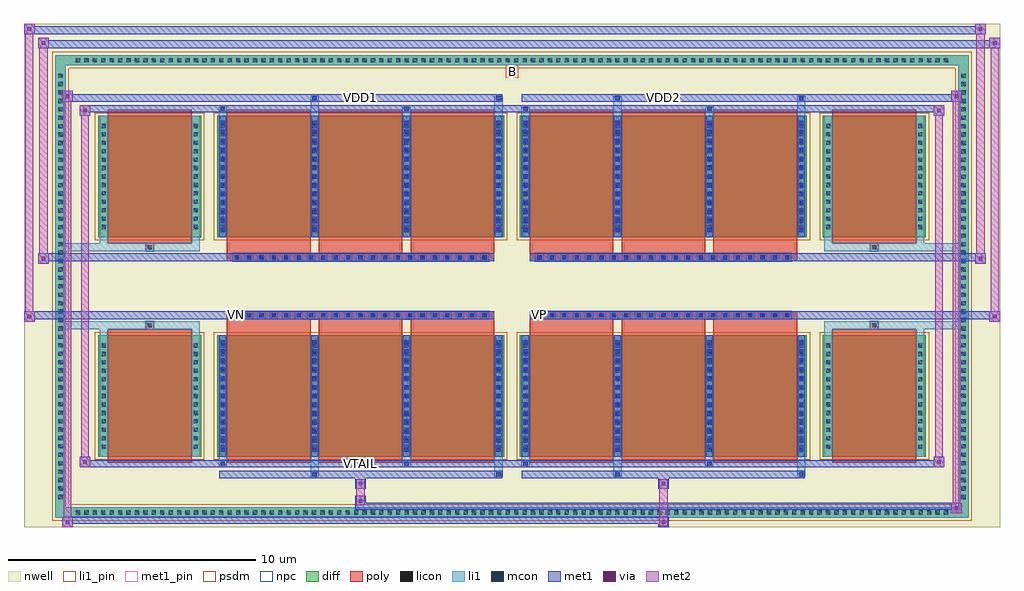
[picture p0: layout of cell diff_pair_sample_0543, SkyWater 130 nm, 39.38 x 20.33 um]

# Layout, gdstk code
import gdstk
lib = gdstk.Library(unit=1e-6, precision=5e-09)
def R(c, l, rs):  # rectangles x0, y0, x1, y1
    for r in rs: c.add(gdstk.rectangle(r[:2], r[2:], *l))
def A(c, l, x, y, w, h, nx, ny, dx, dy):  # array of equal rectangles
    R(c, l, [(x+i*dx, y+j*dy, x+i*dx+w, y+j*dy+h) for i in range(nx) for j in range(ny)])
def P(c, l, *ps):  # polygons
    for p in ps: c.add(gdstk.Polygon(p, *l))
nwell = (64, 20)
diff = (65, 20)
poly = (66, 20)
licon = (66, 44)
li1_pin = (67, 16)
li1 = (67, 20)
mcon = (67, 44)
met1_pin = (68, 16)
met1 = (68, 20)
via = (68, 44)
met2 = (69, 20)
psdm = (94, 20)
npc = (95, 20)

diff_pair_sample_0543 = lib.new_cell('diff_pair_sample_0543')
R(diff_pair_sample_0543, nwell, [(-19.69,-9.73,19.69,10.6), (-17.01,-7.92,-0.01,-0.8), (0.01,-7.92,17.01,-0.8), (-17.01,0.8,-0.01,7.92), (0.01,0.8,17.01,7.92)])
A(diff_pair_sample_0543, diff, -17.715, -9.33, 0.41, 0.41, 104, 2, 0.34, 18.25)
A(diff_pair_sample_0543, diff, -18.42, -8.705, 0.41, 0.41, 1, 51, 0, 0.34)
A(diff_pair_sample_0543, diff, 18.01, -8.705, 0.41, 0.41, 1, 51, 0, 0.34)
R(diff_pair_sample_0543, diff, [(-17.715,-9.33,17.715,-8.92), (-18.42,-8.705,-18.01,8.705), (18.01,-8.705,18.42,8.705), (-16.7,-6.875,-12.54,-1.985), (-11.9,-6.875,-0.32,-1.985), (0.32,-6.875,11.9,-1.985), (12.54,-6.875,16.7,-1.985), (-16.7,1.985,-12.54,6.875), (-11.9,1.985,-0.32,6.875), (0.32,1.985,11.9,6.875), (12.54,1.985,16.7,6.875), (-17.715,8.92,17.715,9.33)])
P(diff_pair_sample_0543, diff, [(18.42,9.33),(-18.42,9.33),(-18.42,-8.92),(-18.01,-8.92),(-18.01,8.92),(18.01,8.92),(18.01,-8.92),(-18.01,-8.92),(-18.42,-8.92),(-18.42,-9.33),(18.42,-9.33)])
A(diff_pair_sample_0543, poly, -11.51, -7.125, 3.38, 5.39, 3, 2, 3.71, 8.86)
A(diff_pair_sample_0543, poly, 0.71, -7.125, 3.38, 5.39, 3, 2, 3.71, 8.86)
A(diff_pair_sample_0543, poly, -11.51, -1.735, 3.38, 0.405, 3, 2, 3.71, 3.065)
A(diff_pair_sample_0543, poly, 0.71, -1.735, 3.38, 0.405, 3, 2, 3.71, 3.065)
A(diff_pair_sample_0543, poly, -11.275, -1.33, 0.33, 0.33, 21, 2, 0.5, 2.33)
A(diff_pair_sample_0543, poly, 0.945, -1.33, 0.33, 0.33, 21, 2, 0.5, 2.33)
R(diff_pair_sample_0543, poly, [(-16.31,-7.125,-12.93,-1.735), (12.93,-7.125,16.31,-1.735), (-14.785,-1.735,-14.455,-1.405), (-14.785,-1.735,-14.455,-1.405), (14.455,-1.735,14.785,-1.405), (14.455,-1.735,14.785,-1.405), (-11.51,-1.33,-0.71,-1), (0.71,-1.33,11.51,-1), (-11.51,1,-0.71,1.33), (0.71,1,11.51,1.33), (-14.785,1.405,-14.455,1.735), (-14.785,1.405,-14.455,1.735), (14.455,1.405,14.785,1.735), (14.455,1.405,14.785,1.735), (-16.31,1.735,-12.93,7.125), (12.93,1.735,16.31,7.125)])
A(diff_pair_sample_0543, licon, -17.595, -9.21, 0.17, 0.17, 104, 2, 0.34, 18.25)
A(diff_pair_sample_0543, licon, -18.3, -8.585, 0.17, 0.17, 1, 51, 0, 0.34)
A(diff_pair_sample_0543, licon, 18.13, -8.585, 0.17, 0.17, 1, 51, 0, 0.34)
A(diff_pair_sample_0543, licon, -16.56, -6.555, 0.17, 0.17, 1, 13, 0, 0.34)
A(diff_pair_sample_0543, licon, -12.85, -6.555, 0.17, 0.17, 1, 13, 0, 0.34)
A(diff_pair_sample_0543, licon, -11.76, -6.555, 0.17, 0.17, 4, 13, 3.71, 0.34)
A(diff_pair_sample_0543, licon, 0.46, -6.555, 0.17, 0.17, 4, 13, 3.71, 0.34)
A(diff_pair_sample_0543, licon, 12.68, -6.555, 0.17, 0.17, 1, 13, 0, 0.34)
A(diff_pair_sample_0543, licon, 16.39, -6.555, 0.17, 0.17, 1, 13, 0, 0.34)
A(diff_pair_sample_0543, licon, -11.195, -1.25, 0.17, 0.17, 21, 2, 0.5, 2.33)
A(diff_pair_sample_0543, licon, 1.025, -1.25, 0.17, 0.17, 21, 2, 0.5, 2.33)
A(diff_pair_sample_0543, licon, -16.56, 2.305, 0.17, 0.17, 1, 13, 0, 0.34)
A(diff_pair_sample_0543, licon, -12.85, 2.305, 0.17, 0.17, 1, 13, 0, 0.34)
A(diff_pair_sample_0543, licon, -11.76, 2.305, 0.17, 0.17, 4, 13, 3.71, 0.34)
A(diff_pair_sample_0543, licon, 0.46, 2.305, 0.17, 0.17, 4, 13, 3.71, 0.34)
A(diff_pair_sample_0543, licon, 12.68, 2.305, 0.17, 0.17, 1, 13, 0, 0.34)
A(diff_pair_sample_0543, licon, 16.39, 2.305, 0.17, 0.17, 1, 13, 0, 0.34)
R(diff_pair_sample_0543, licon, [(-14.705,-1.655,-14.535,-1.485), (14.535,-1.655,14.705,-1.485), (-14.705,1.485,-14.535,1.655), (14.535,1.485,14.705,1.655)])
R(diff_pair_sample_0543, li1_pin, [(-0.25,8.42,0.25,8.92)])
A(diff_pair_sample_0543, li1, -17.675, -9.29, 0.33, 0.33, 104, 2, 0.34, 18.25)
A(diff_pair_sample_0543, li1, -18.38, -8.665, 0.33, 0.33, 1, 51, 0, 0.34)
A(diff_pair_sample_0543, li1, 18.05, -8.665, 0.33, 0.33, 1, 51, 0, 0.34)
A(diff_pair_sample_0543, li1, -11.84, -6.875, 0.33, 4.89, 4, 2, 3.71, 8.86)
A(diff_pair_sample_0543, li1, 0.38, -6.875, 0.33, 4.89, 4, 2, 3.71, 8.86)
A(diff_pair_sample_0543, li1, -11.76, -6.675, 0.17, 0.17, 4, 13, 3.71, 0.36)
A(diff_pair_sample_0543, li1, -11.76, -6.675, 0.17, 4.49, 4, 2, 3.71, 8.86)
A(diff_pair_sample_0543, li1, 0.46, -6.675, 0.17, 0.17, 4, 13, 3.71, 0.36)
A(diff_pair_sample_0543, li1, 0.46, -6.675, 0.17, 4.49, 4, 2, 3.71, 8.86)
A(diff_pair_sample_0543, li1, -16.64, -6.635, 0.33, 0.33, 1, 13, 0, 0.34)
A(diff_pair_sample_0543, li1, -12.93, -6.635, 0.33, 0.33, 1, 13, 0, 0.34)
A(diff_pair_sample_0543, li1, -11.84, -6.635, 0.33, 0.33, 4, 13, 3.71, 0.34)
A(diff_pair_sample_0543, li1, 0.38, -6.635, 0.33, 0.33, 4, 13, 3.71, 0.34)
A(diff_pair_sample_0543, li1, 12.6, -6.635, 0.33, 0.33, 1, 13, 0, 0.34)
A(diff_pair_sample_0543, li1, 16.31, -6.635, 0.33, 0.33, 1, 13, 0, 0.34)
A(diff_pair_sample_0543, li1, -11.275, -1.33, 0.33, 0.33, 21, 2, 0.5, 2.33)
A(diff_pair_sample_0543, li1, 0.945, -1.33, 0.33, 0.33, 21, 2, 0.5, 2.33)
A(diff_pair_sample_0543, li1, -11.76, 2.185, 0.17, 0.17, 4, 13, 3.71, 0.36)
A(diff_pair_sample_0543, li1, 0.46, 2.185, 0.17, 0.17, 4, 13, 3.71, 0.36)
A(diff_pair_sample_0543, li1, -16.64, 2.225, 0.33, 0.33, 1, 13, 0, 0.34)
A(diff_pair_sample_0543, li1, -12.93, 2.225, 0.33, 0.33, 1, 13, 0, 0.34)
A(diff_pair_sample_0543, li1, -11.84, 2.225, 0.33, 0.33, 4, 13, 3.71, 0.34)
A(diff_pair_sample_0543, li1, 0.38, 2.225, 0.33, 0.33, 4, 13, 3.71, 0.34)
A(diff_pair_sample_0543, li1, 12.6, 2.225, 0.33, 0.33, 1, 13, 0, 0.34)
A(diff_pair_sample_0543, li1, 16.31, 2.225, 0.33, 0.33, 1, 13, 0, 0.34)
R(diff_pair_sample_0543, li1, [(-18.42,-9.33,-18.01,-8.92), (-18.42,-9.33,-18.01,-8.92), (-18.01,-9.33,18.01,-8.92), (18.01,-9.33,18.42,-8.92), (18.01,-9.33,18.42,-8.92), (-18.42,-8.92,-18.01,8.92), (18.01,-8.92,18.42,8.92), (-8.13,-7.68,-7.8,-6.875), (-8.05,-7.68,-7.88,-7.51), (-0.71,-7.68,-0.38,-6.875), (-0.63,-7.68,-0.46,-7.51), (4.09,-7.68,4.42,-6.875), (4.17,-7.68,4.34,-7.51), (11.51,-7.68,11.84,-6.875), (11.59,-7.68,11.76,-7.51), (-11.84,-7.25,-11.51,-6.875), (-11.76,-7.25,-11.59,-7.08), (-4.42,-7.25,-4.09,-6.875), (-4.34,-7.25,-4.17,-7.08), (0.38,-7.25,0.71,-6.875), (0.46,-7.25,0.63,-7.08), (7.8,-7.25,8.13,-6.875), (7.88,-7.25,8.05,-7.08), (-16.64,-6.875,-16.31,-1.985), (-12.93,-6.875,-12.6,-1.985), (12.6,-6.875,12.93,-1.985), (16.31,-6.875,16.64,-1.985), (-16.64,-1.985,-16.31,-1.405), (-12.93,-1.985,-12.6,-1.405), (12.6,-1.985,12.93,-1.405), (16.31,-1.985,16.64,-1.405), (-18.42,-1.735,-14.785,-1.405), (-16.64,-1.735,-14.785,-1.405), (-14.785,-1.735,-14.455,-1.405), (-14.455,-1.735,-12.6,-1.405), (12.6,-1.735,14.455,-1.405), (14.455,-1.735,14.785,-1.405), (14.455,-1.735,18.42,-1.405), (14.785,-1.735,16.64,-1.405), (-18.42,1.405,-14.785,1.735), (-16.64,1.405,-14.785,1.735), (-16.64,1.405,-16.31,1.985), (-14.785,1.405,-14.455,1.735), (-14.455,1.405,-12.6,1.735), (-12.93,1.405,-12.6,1.985), (12.6,1.405,14.455,1.735), (12.6,1.405,12.93,1.985), (14.455,1.405,14.785,1.735), (14.455,1.405,18.42,1.735), (14.785,1.405,16.64,1.735), (16.31,1.405,16.64,1.985), (-16.64,1.985,-16.31,6.875), (-12.93,1.985,-12.6,6.875), (12.6,1.985,12.93,6.875), (16.31,1.985,16.64,6.875), (-11.84,6.875,-11.51,7.25), (-8.13,6.875,-7.8,7.68), (-4.42,6.875,-4.09,7.25), (-0.71,6.875,-0.38,7.68), (0.38,6.875,0.71,7.25), (4.09,6.875,4.42,7.68), (7.8,6.875,8.13,7.25), (11.51,6.875,11.84,7.68), (-11.76,7.08,-11.59,7.25), (-4.34,7.08,-4.17,7.25), (0.46,7.08,0.63,7.25), (7.88,7.08,8.05,7.25), (-8.05,7.51,-7.88,7.68), (-0.63,7.51,-0.46,7.68), (4.17,7.51,4.34,7.68), (11.59,7.51,11.76,7.68), (-18.42,8.92,-18.01,9.33), (-18.42,8.92,-18.01,9.33), (-18.01,8.92,18.01,9.33), (18.01,8.92,18.42,9.33), (18.01,8.92,18.42,9.33)])
A(diff_pair_sample_0543, mcon, -11.76, -6.675, 0.17, 0.17, 4, 13, 3.71, 0.36)
A(diff_pair_sample_0543, mcon, 0.46, -6.675, 0.17, 0.17, 4, 13, 3.71, 0.36)
A(diff_pair_sample_0543, mcon, -11.195, -1.25, 0.17, 0.17, 21, 2, 0.5, 2.33)
A(diff_pair_sample_0543, mcon, 1.025, -1.25, 0.17, 0.17, 21, 2, 0.5, 2.33)
A(diff_pair_sample_0543, mcon, -11.76, 2.185, 0.17, 0.17, 4, 13, 3.71, 0.36)
A(diff_pair_sample_0543, mcon, 0.46, 2.185, 0.17, 0.17, 4, 13, 3.71, 0.36)
R(diff_pair_sample_0543, mcon, [(-8.05,-7.68,-7.88,-7.51), (-0.63,-7.68,-0.46,-7.51), (4.17,-7.68,4.34,-7.51), (11.59,-7.68,11.76,-7.51), (-11.76,-7.25,-11.59,-7.08), (-4.34,-7.25,-4.17,-7.08), (0.46,-7.25,0.63,-7.08), (7.88,-7.25,8.05,-7.08), (-11.76,7.08,-11.59,7.25), (-4.34,7.08,-4.17,7.25), (0.46,7.08,0.63,7.25), (7.88,7.08,8.05,7.25), (-8.05,7.51,-7.88,7.68), (-0.63,7.51,-0.46,7.68), (4.17,7.51,4.34,7.68), (11.59,7.51,11.76,7.68)])
R(diff_pair_sample_0543, met1_pin, [(-6.245,-7.29,-5.975,-7.02), (-11.245,-1.29,-10.975,-1.02), (0.975,-1.29,1.245,-1.02), (-6.245,7.47,-5.975,7.74), (5.975,7.47,6.245,7.74)])
A(diff_pair_sample_0543, met1, -11.82, -6.875, 0.29, 4.89, 4, 2, 3.71, 8.86)
A(diff_pair_sample_0543, met1, 0.4, -6.875, 0.29, 4.89, 4, 2, 3.71, 8.86)
A(diff_pair_sample_0543, met1, -11.82, -6.735, 0.29, 0.29, 4, 13, 3.71, 0.36)
A(diff_pair_sample_0543, met1, 0.4, -6.735, 0.29, 0.29, 4, 13, 3.71, 0.36)
A(diff_pair_sample_0543, met1, -11.255, -1.31, 0.29, 0.29, 21, 2, 0.5, 2.33)
A(diff_pair_sample_0543, met1, 0.965, -1.31, 0.29, 0.29, 21, 2, 0.5, 2.33)
A(diff_pair_sample_0543, met1, -11.82, 2.125, 0.29, 0.29, 4, 13, 3.71, 0.36)
A(diff_pair_sample_0543, met1, 0.4, 2.125, 0.29, 0.29, 4, 13, 3.71, 0.36)
R(diff_pair_sample_0543, met1, [(-18.15,-9.73,-17.72,-9.3), (5.895,-9.73,6.325,-9.3), (-18.15,-9.59,6.325,-9.3), (17.72,-9.16,18.15,-8.73), (-6.325,-9.02,18.15,-8.73), (-6.325,-8.88,-5.895,-8.45), (-6.325,-8.17,-5.895,-7.74), (5.895,-8.17,6.325,-7.74), (-11.82,-7.74,-0.4,-7.45), (-8.11,-7.74,-7.82,-7.45), (-0.69,-7.74,-0.4,-7.45), (0.4,-7.74,11.82,-7.45), (4.11,-7.74,4.4,-7.45), (11.53,-7.74,11.82,-7.45), (-17.44,-7.31,-17.01,-6.88), (-17.44,-7.31,-11.82,-7.02), (-11.82,-7.31,-11.53,-7.02), (-11.82,-7.31,-0.4,-7.02), (-4.4,-7.31,-4.11,-7.02), (-0.4,-7.31,0.4,-7.02), (0.4,-7.31,0.69,-7.02), (0.4,-7.31,11.82,-7.02), (7.82,-7.31,8.11,-7.02), (11.82,-7.31,17.44,-7.02), (17.01,-7.31,17.44,-6.88), (-19.69,-1.43,-19.26,-1), (19.26,-1.43,19.69,-1), (-19.69,-1.33,-0.71,-1), (-11.51,-1.33,-0.71,-1), (0.71,-1.33,11.51,-1), (0.71,-1.33,19.69,-1), (-19.12,0.9,-18.69,1.33), (18.69,0.9,19.12,1.33), (-19.12,1,-11.51,1.33), (-11.51,1,-0.71,1.33), (0.71,1,11.51,1.33), (11.51,1,19.12,1.33), (-17.44,6.88,-17.01,7.31), (17.01,6.88,17.44,7.31), (-17.44,7.02,-11.82,7.31), (-11.82,7.02,-11.53,7.31), (-11.82,7.02,-0.4,7.31), (-4.4,7.02,-4.11,7.31), (-0.4,7.02,0.4,7.31), (0.4,7.02,0.69,7.31), (0.4,7.02,11.82,7.31), (7.82,7.02,8.11,7.31), (11.82,7.02,17.44,7.31), (-18.15,7.45,-17.72,7.88), (-18.15,7.45,-11.82,7.74), (-11.82,7.45,-0.4,7.74), (-8.11,7.45,-7.82,7.74), (-0.69,7.45,-0.4,7.74), (0.4,7.45,11.82,7.74), (4.11,7.45,4.4,7.74), (11.53,7.45,11.82,7.74), (11.82,7.45,18.15,7.74), (17.72,7.45,18.15,7.88), (-19.12,9.6,-18.69,10.03), (-19.12,9.6,-17.01,9.93), (-17.01,9.6,17.01,9.93), (17.01,9.6,19.69,9.93), (19.26,9.6,19.69,10.03), (-19.69,10.17,-19.26,10.6), (-19.69,10.17,-17.01,10.5), (-17.01,10.17,17.01,10.5), (17.01,10.17,19.12,10.5), (18.69,10.17,19.12,10.6)])
R(diff_pair_sample_0543, via, [(-18.01,-9.59,-17.86,-9.44), (6.035,-9.59,6.185,-9.44), (17.86,-9.02,18.01,-8.87), (-6.185,-8.74,-6.035,-8.59), (-6.185,-8.03,-6.035,-7.88), (6.035,-8.03,6.185,-7.88), (-17.3,-7.17,-17.15,-7.02), (17.15,-7.17,17.3,-7.02), (-19.55,-1.29,-19.4,-1.14), (19.4,-1.29,19.55,-1.14), (-18.98,1.04,-18.83,1.19), (18.83,1.04,18.98,1.19), (-17.3,7.02,-17.15,7.17), (17.15,7.02,17.3,7.17), (-18.01,7.59,-17.86,7.74), (17.86,7.59,18.01,7.74), (-18.98,9.74,-18.83,9.89), (19.4,9.74,19.55,9.89), (-19.55,10.31,-19.4,10.46), (18.83,10.31,18.98,10.46)])
R(diff_pair_sample_0543, met2, [(-18.15,-9.73,-17.72,-9.3), (-18.08,-9.73,-17.79,7.88), (-17.79,-9.73,-17.72,-9.3), (-18.1,-9.68,-17.77,-9.35), (5.945,-9.68,6.275,-9.35), (5.945,-9.35,6.275,-8.12), (17.72,-9.16,18.15,-8.73), (17.79,-9.16,18.08,7.88), (18.08,-9.16,18.15,-8.73), (17.77,-9.11,18.1,-8.78), (-6.275,-8.83,-5.945,-8.5), (-6.275,-8.5,-5.945,-8.12), (-6.275,-8.12,-5.945,-7.79), (5.945,-8.12,6.275,-7.79), (-17.44,-7.31,-17.01,-6.88), (-17.37,-7.31,-17.08,7.31), (-17.08,-7.31,-17.01,-6.88), (17.01,-7.31,17.44,-6.88), (17.08,-7.31,17.37,7.31), (17.37,-7.31,17.44,-6.88), (-17.39,-7.26,-17.06,-6.93), (17.06,-7.26,17.39,-6.93), (-19.69,-1.43,-19.26,-1), (-19.64,-1.43,-19.31,10.6), (-19.31,-1.43,-19.26,-1), (19.26,-1.43,19.69,-1), (19.31,-1.43,19.64,10.03), (19.64,-1.43,19.69,-1), (-19.64,-1.38,-19.31,-1.05), (19.31,-1.38,19.64,-1.05), (-19.12,0.9,-18.69,1.33), (-19.07,0.9,-18.74,10.03), (-18.74,0.9,-18.69,1.33), (18.69,0.9,19.12,1.33), (18.74,0.9,19.07,10.6), (19.07,0.9,19.12,1.33), (-19.07,0.95,-18.74,1.28), (18.74,0.95,19.07,1.28), (-17.44,6.88,-17.01,7.31), (-17.08,6.88,-17.01,7.31), (17.01,6.88,17.44,7.31), (17.37,6.88,17.44,7.31), (-17.39,6.93,-17.06,7.26), (17.06,6.93,17.39,7.26), (-18.15,7.45,-17.72,7.88), (-17.79,7.45,-17.72,7.88), (17.72,7.45,18.15,7.88), (18.08,7.45,18.15,7.88), (-18.1,7.5,-17.77,7.83), (17.77,7.5,18.1,7.83), (-19.12,9.6,-18.69,10.03), (-18.74,9.6,-18.69,10.03), (19.26,9.6,19.69,10.03), (19.64,9.6,19.69,10.03), (-19.07,9.65,-18.74,9.98), (19.31,9.65,19.64,9.98), (-19.69,10.17,-19.26,10.6), (-19.31,10.17,-19.26,10.6), (18.69,10.17,19.12,10.6), (19.07,10.17,19.12,10.6), (-19.64,10.22,-19.31,10.55), (18.74,10.22,19.07,10.55)])
R(diff_pair_sample_0543, psdm, [(-16.83,-7.005,-12.41,-1.855), (-12.03,-7.005,-0.19,-1.855), (0.19,-7.005,12.03,-1.855), (12.41,-7.005,16.83,-1.855), (-16.83,1.855,-12.41,7.005), (-12.03,1.855,-0.19,7.005), (0.19,1.855,12.03,7.005), (12.41,1.855,16.83,7.005)])
P(diff_pair_sample_0543, psdm, [(18.55,9.46),(-18.55,9.46),(-18.55,-8.79),(-17.88,-8.79),(-17.88,8.79),(17.88,8.79),(17.88,-8.79),(-17.88,-8.79),(-18.55,-8.79),(-18.55,-9.46),(18.55,-9.46)])
A(diff_pair_sample_0543, npc, -11.295, -1.35, 0.37, 0.37, 21, 2, 0.5, 2.33)
A(diff_pair_sample_0543, npc, 0.925, -1.35, 0.37, 0.37, 21, 2, 0.5, 2.33)
R(diff_pair_sample_0543, npc, [(-14.805,-1.755,-14.435,-1.385), (14.435,-1.755,14.805,-1.385), (-11.295,-1.35,-10.425,-0.98), (-11.295,-1.35,-10.425,-0.98), (-10.795,-1.35,-9.925,-0.98), (-10.795,-1.35,-9.925,-0.98), (-10.295,-1.35,-9.425,-0.98), (-10.295,-1.35,-9.425,-0.98), (-9.795,-1.35,-8.925,-0.98), (-9.795,-1.35,-8.925,-0.98), (-9.295,-1.35,-8.425,-0.98), (-9.295,-1.35,-8.425,-0.98), (-8.795,-1.35,-7.925,-0.98), (-8.795,-1.35,-7.925,-0.98), (-8.295,-1.35,-7.425,-0.98), (-8.295,-1.35,-7.425,-0.98), (-7.795,-1.35,-6.925,-0.98), (-7.795,-1.35,-6.925,-0.98), (-7.295,-1.35,-6.425,-0.98), (-7.295,-1.35,-6.425,-0.98), (-6.795,-1.35,-5.925,-0.98), (-6.795,-1.35,-5.925,-0.98), (-6.295,-1.35,-5.425,-0.98), (-6.295,-1.35,-5.425,-0.98), (-5.795,-1.35,-4.925,-0.98), (-5.795,-1.35,-4.925,-0.98), (-5.295,-1.35,-4.425,-0.98), (-5.295,-1.35,-4.425,-0.98), (-4.795,-1.35,-3.925,-0.98), (-4.795,-1.35,-3.925,-0.98), (-4.295,-1.35,-3.425,-0.98), (-4.295,-1.35,-3.425,-0.98), (-3.795,-1.35,-2.925,-0.98), (-3.795,-1.35,-2.925,-0.98), (-3.295,-1.35,-2.425,-0.98), (-3.295,-1.35,-2.425,-0.98), (-2.795,-1.35,-1.925,-0.98), (-2.795,-1.35,-1.925,-0.98), (-2.295,-1.35,-1.425,-0.98), (-2.295,-1.35,-1.425,-0.98), (-1.795,-1.35,-0.925,-0.98), (-1.795,-1.35,-0.925,-0.98), (0.925,-1.35,1.795,-0.98), (0.925,-1.35,1.795,-0.98), (1.425,-1.35,2.295,-0.98), (1.425,-1.35,2.295,-0.98), (1.925,-1.35,2.795,-0.98), (1.925,-1.35,2.795,-0.98), (2.425,-1.35,3.295,-0.98), (2.425,-1.35,3.295,-0.98), (2.925,-1.35,3.795,-0.98), (2.925,-1.35,3.795,-0.98), (3.425,-1.35,4.295,-0.98), (3.425,-1.35,4.295,-0.98), (3.925,-1.35,4.795,-0.98), (3.925,-1.35,4.795,-0.98), (4.425,-1.35,5.295,-0.98), (4.425,-1.35,5.295,-0.98), (4.925,-1.35,5.795,-0.98), (4.925,-1.35,5.795,-0.98), (5.425,-1.35,6.295,-0.98), (5.425,-1.35,6.295,-0.98), (5.925,-1.35,6.795,-0.98), (5.925,-1.35,6.795,-0.98), (6.425,-1.35,7.295,-0.98), (6.425,-1.35,7.295,-0.98), (6.925,-1.35,7.795,-0.98), (6.925,-1.35,7.795,-0.98), (7.425,-1.35,8.295,-0.98), (7.425,-1.35,8.295,-0.98), (7.925,-1.35,8.795,-0.98), (7.925,-1.35,8.795,-0.98), (8.425,-1.35,9.295,-0.98), (8.425,-1.35,9.295,-0.98), (8.925,-1.35,9.795,-0.98), (8.925,-1.35,9.795,-0.98), (9.425,-1.35,10.295,-0.98), (9.425,-1.35,10.295,-0.98), (9.925,-1.35,10.795,-0.98), (9.925,-1.35,10.795,-0.98), (10.425,-1.35,11.295,-0.98), (10.425,-1.35,11.295,-0.98), (-11.295,0.98,-10.425,1.35), (-11.295,0.98,-10.425,1.35), (-10.795,0.98,-9.925,1.35), (-10.795,0.98,-9.925,1.35), (-10.295,0.98,-9.425,1.35), (-10.295,0.98,-9.425,1.35), (-9.795,0.98,-8.925,1.35), (-9.795,0.98,-8.925,1.35), (-9.295,0.98,-8.425,1.35), (-9.295,0.98,-8.425,1.35), (-8.795,0.98,-7.925,1.35), (-8.795,0.98,-7.925,1.35), (-8.295,0.98,-7.425,1.35), (-8.295,0.98,-7.425,1.35), (-7.795,0.98,-6.925,1.35), (-7.795,0.98,-6.925,1.35), (-7.295,0.98,-6.425,1.35), (-7.295,0.98,-6.425,1.35), (-6.795,0.98,-5.925,1.35), (-6.795,0.98,-5.925,1.35), (-6.295,0.98,-5.425,1.35), (-6.295,0.98,-5.425,1.35), (-5.795,0.98,-4.925,1.35), (-5.795,0.98,-4.925,1.35), (-5.295,0.98,-4.425,1.35), (-5.295,0.98,-4.425,1.35), (-4.795,0.98,-3.925,1.35), (-4.795,0.98,-3.925,1.35), (-4.295,0.98,-3.425,1.35), (-4.295,0.98,-3.425,1.35), (-3.795,0.98,-2.925,1.35), (-3.795,0.98,-2.925,1.35), (-3.295,0.98,-2.425,1.35), (-3.295,0.98,-2.425,1.35), (-2.795,0.98,-1.925,1.35), (-2.795,0.98,-1.925,1.35), (-2.295,0.98,-1.425,1.35), (-2.295,0.98,-1.425,1.35), (-1.795,0.98,-0.925,1.35), (-1.795,0.98,-0.925,1.35), (0.925,0.98,1.795,1.35), (0.925,0.98,1.795,1.35), (1.425,0.98,2.295,1.35), (1.425,0.98,2.295,1.35), (1.925,0.98,2.795,1.35), (1.925,0.98,2.795,1.35), (2.425,0.98,3.295,1.35), (2.425,0.98,3.295,1.35), (2.925,0.98,3.795,1.35), (2.925,0.98,3.795,1.35), (3.425,0.98,4.295,1.35), (3.425,0.98,4.295,1.35), (3.925,0.98,4.795,1.35), (3.925,0.98,4.795,1.35), (4.425,0.98,5.295,1.35), (4.425,0.98,5.295,1.35), (4.925,0.98,5.795,1.35), (4.925,0.98,5.795,1.35), (5.425,0.98,6.295,1.35), (5.425,0.98,6.295,1.35), (5.925,0.98,6.795,1.35), (5.925,0.98,6.795,1.35), (6.425,0.98,7.295,1.35), (6.425,0.98,7.295,1.35), (6.925,0.98,7.795,1.35), (6.925,0.98,7.795,1.35), (7.425,0.98,8.295,1.35), (7.425,0.98,8.295,1.35), (7.925,0.98,8.795,1.35), (7.925,0.98,8.795,1.35), (8.425,0.98,9.295,1.35), (8.425,0.98,9.295,1.35), (8.925,0.98,9.795,1.35), (8.925,0.98,9.795,1.35), (9.425,0.98,10.295,1.35), (9.425,0.98,10.295,1.35), (9.925,0.98,10.795,1.35), (9.925,0.98,10.795,1.35), (10.425,0.98,11.295,1.35), (10.425,0.98,11.295,1.35), (-14.805,1.385,-14.435,1.755), (14.435,1.385,14.805,1.755)])
diff_pair_sample_0543.add(gdstk.Label('VTAIL', (-6.11,-7.155), layer=68, texttype=5))
diff_pair_sample_0543.add(gdstk.Label('VN', (-11.11,-1.155), layer=68, texttype=5))
diff_pair_sample_0543.add(gdstk.Label('VP', (1.11,-1.155), layer=68, texttype=5))
diff_pair_sample_0543.add(gdstk.Label('B', (0,8.67), layer=67, texttype=5))
diff_pair_sample_0543.add(gdstk.Label('VDD2', (6.11,7.605), layer=68, texttype=5))
diff_pair_sample_0543.add(gdstk.Label('VDD1', (-6.11,7.605), layer=68, texttype=5))

lib.write_gds('diff_pair_sample_0543.gds')
